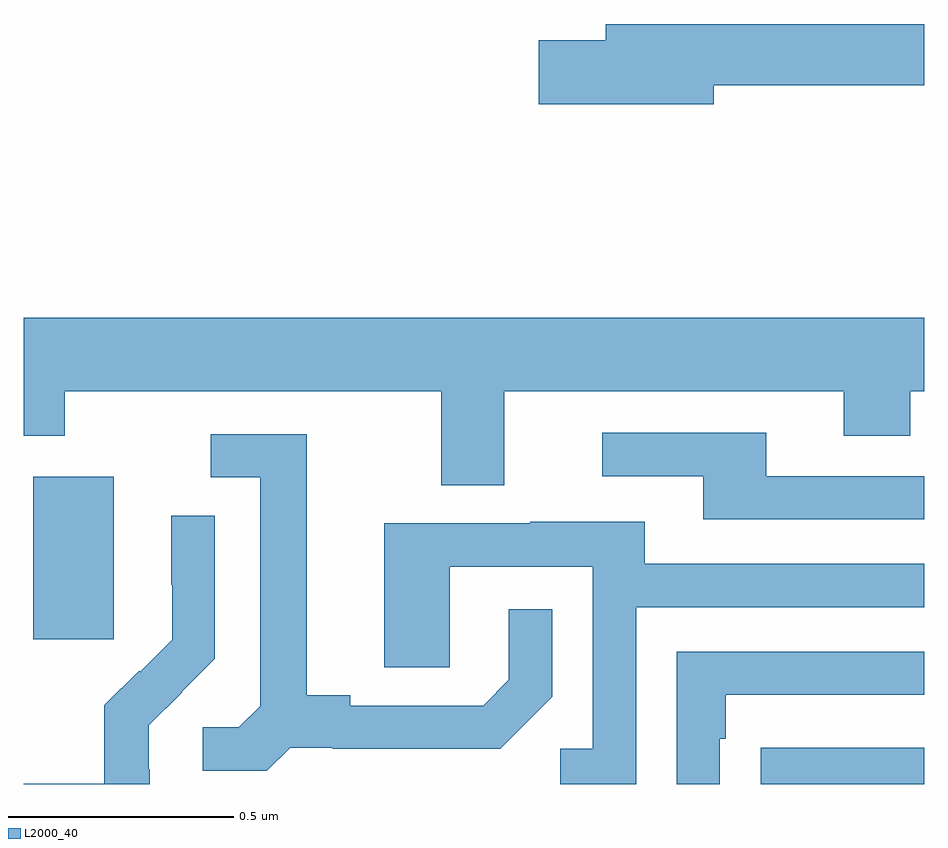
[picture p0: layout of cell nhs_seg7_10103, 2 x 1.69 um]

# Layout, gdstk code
import gdstk
lib = gdstk.Library(unit=1e-6, precision=1e-09)
def R(c, l, rs):  # rectangles x0, y0, x1, y1
    for r in rs: c.add(gdstk.rectangle(r[:2], r[2:], *l))
def P(c, l, *ps):  # polygons
    for p in ps: c.add(gdstk.Polygon(p, *l))
L2000_40 = (2000, 40)

nhs_seg7_10103 = lib.new_cell('nhs_seg7_10103')
R(nhs_seg7_10103, L2000_40, [(245.021,1077.321,245.2,1077.682)])
P(nhs_seg7_10103, L2000_40, [(246.532,1078.552),(247,1078.552),(247,1078.688),(246.293,1078.688),(246.293,1078.652),(246.144,1078.652),(246.144,1078.51),(246.532,1078.51)],
  [(246.067,1077.872),(246.821,1077.872),(246.821,1077.773),(246.969,1077.773),(246.969,1077.872),(247,1077.872),(247,1078.036),(245,1078.036),(245,1077.773),(245.091,1077.773),(245.091,1077.872),(245.927,1077.872),(245.927,1077.664),(246.067,1077.664)],
  [(247,1077.684),(246.649,1077.684),(246.649,1077.78),(246.285,1077.78),(246.285,1077.684),(246.509,1077.684),(246.509,1077.588),(247,1077.588)],
  [(245.592,1077.081),(245.686,1077.081),(245.686,1077.078),(246.058,1077.078),(246.174,1077.194),(246.174,1077.388),(246.077,1077.388),(246.077,1077.231),(246.02,1077.174),(245.725,1077.174),(245.725,1077.197),(245.629,1077.197),(245.629,1077.777),(245.415,1077.777),(245.415,1077.681),(245.525,1077.681),(245.525,1077.173),(245.478,1077.126),(245.397,1077.126),(245.397,1077.029),(245.54,1077.029)],
  [(245.28,1077.033),(245.278,1077.033),(245.278,1077.13),(245.352,1077.204),(245.351,1077.205),(245.424,1077.278),(245.424,1077.596),(245.328,1077.596),(245.328,1077.442),(245.33,1077.442),(245.33,1077.32),(245.259,1077.249),(245.256,1077.252),(245.179,1077.175),(245.179,1077.001),(245,1077.001),(245,1077),(245.28,1077)],
  [(246.36,1077.393),(247,1077.393),(247,1077.489),(246.379,1077.489),(246.379,1077.583),(246.125,1077.583),(246.125,1077.579),(245.801,1077.579),(245.801,1077.259),(245.946,1077.259),(245.946,1077.483),(246.264,1077.483),(246.264,1077.078),(246.192,1077.078),(246.192,1077),(246.36,1077)],
  [(246.546,1077.101),(246.559,1077.101),(246.559,1077.198),(247,1077.198),(247,1077.294),(246.45,1077.294),(246.45,1077),(246.546,1077)],
  [(247,1077.081),(246.739,1077.081),(246.739,1077.08),(246.637,1077.08),(246.637,1077),(247,1077)])

lib.write_gds('nhs_seg7_10103.gds')
